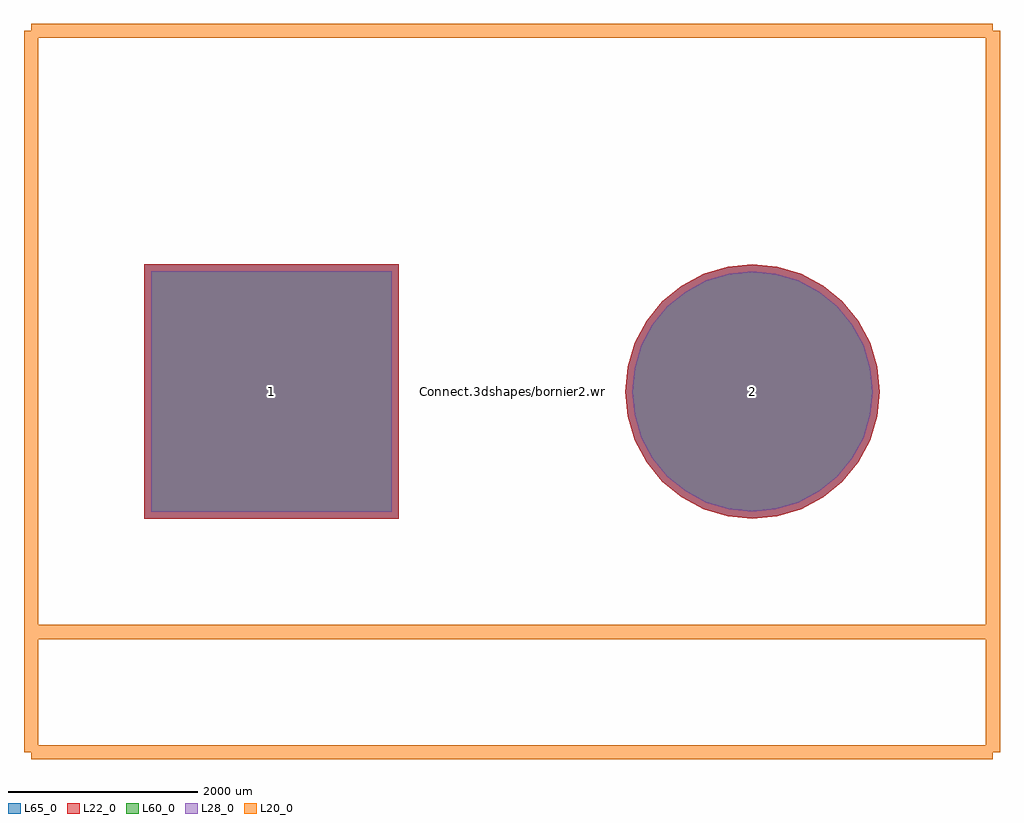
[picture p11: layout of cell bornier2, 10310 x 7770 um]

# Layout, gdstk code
import gdstk
lib = gdstk.Library(unit=1e-6, precision=1e-09)
def R(c, l, rs):  # rectangles x0, y0, x1, y1
    for r in rs: c.add(gdstk.rectangle(r[:2], r[2:], *l))
def P(c, l, *ps):  # polygons
    for p in ps: c.add(gdstk.Polygon(p, *l))
L20_0 = (20, 0)
L22_0 = (22, 0)
L28_0 = (28, 0)
L60_0 = (60, 0)
L65_0 = (65, 0)

bornier2 = lib.new_cell('bornier2')
R(bornier2, L22_0, [(-3885,-1345,-1195,1345)])
P(bornier2, L22_0, [(3885,0),(3859.156,262.396),(3782.618,514.709),(3658.327,747.242),(3491.059,951.059),(3287.242,1118.327),(3054.709,1242.618),(2802.396,1319.156),(2540,1345),(2277.604,1319.156),(2025.291,1242.618),(1792.758,1118.327),(1588.941,951.059),(1421.673,747.242),(1297.382,514.709),(1220.844,262.396),(1195,0),(1220.844,-262.396),(1297.382,-514.709),(1421.673,-747.242),(1588.941,-951.059),(1792.758,-1118.327),(2025.291,-1242.618),(2277.604,-1319.156),(2540,-1345),(2802.396,-1319.156),(3054.709,-1242.618),(3287.242,-1118.327),(3491.059,-951.059),(3658.327,-747.242),(3782.618,-514.709),(3859.156,-262.396)])
R(bornier2, L28_0, [(-3810,-1270,-1270,1270)])
P(bornier2, L28_0, [(3810,0),(3785.597,247.765),(3713.327,486.008),(3595.966,705.574),(3438.026,898.026),(3245.574,1055.966),(3026.008,1173.327),(2787.765,1245.597),(2540,1270),(2292.235,1245.597),(2053.992,1173.327),(1834.426,1055.966),(1641.974,898.026),(1484.034,705.574),(1366.673,486.008),(1294.403,247.765),(1270,0),(1294.403,-247.765),(1366.673,-486.008),(1484.034,-705.574),(1641.974,-898.026),(1834.426,-1055.966),(2053.992,-1173.327),(2292.235,-1245.597),(2540,-1270),(2787.765,-1245.597),(3026.008,-1173.327),(3245.574,-1055.966),(3438.026,-898.026),(3595.966,-705.574),(3713.327,-486.008),(3785.597,-247.765)])
R(bornier2, L60_0, [(-3810,-1270,-1270,1270)])
P(bornier2, L60_0, [(3810,0),(3785.597,247.765),(3713.327,486.008),(3595.966,705.574),(3438.026,898.026),(3245.574,1055.966),(3026.008,1173.327),(2787.765,1245.597),(2540,1270),(2292.235,1245.597),(2053.992,1173.327),(1834.426,1055.966),(1641.974,898.026),(1484.034,705.574),(1366.673,486.008),(1294.403,247.765),(1270,0),(1294.403,-247.765),(1366.673,-486.008),(1484.034,-705.574),(1641.974,-898.026),(1834.426,-1055.966),(2053.992,-1173.327),(2292.235,-1245.597),(2540,-1270),(2787.765,-1245.597),(3026.008,-1173.327),(3245.574,-1055.966),(3438.026,-898.026),(3595.966,-705.574),(3713.327,-486.008),(3785.597,-247.765)])
R(bornier2, L65_0, [(-3885,-1345,-1195,1345)])
P(bornier2, L65_0, [(3885,0),(3859.156,262.396),(3782.618,514.709),(3658.327,747.242),(3491.059,951.059),(3287.242,1118.327),(3054.709,1242.618),(2802.396,1319.156),(2540,1345),(2277.604,1319.156),(2025.291,1242.618),(1792.758,1118.327),(1588.941,951.059),(1421.673,747.242),(1297.382,514.709),(1220.844,262.396),(1195,0),(1220.844,-262.396),(1297.382,-514.709),(1421.673,-747.242),(1588.941,-951.059),(1792.758,-1118.327),(2025.291,-1242.618),(2277.604,-1319.156),(2540,-1345),(2802.396,-1319.156),(3054.709,-1242.618),(3287.242,-1118.327),(3491.059,-951.059),(3658.327,-747.242),(3782.618,-514.709),(3859.156,-262.396)])
bornier2.add(gdstk.FlexPath([(-5080,-3810),(5080,-3810)], 149.998, ends="flush", simple_path=True, layer=20, datatype=0))  # L20_0
bornier2.add(gdstk.FlexPath([(-5080,3810),(-5080,-3810)], 149.998, ends="flush", simple_path=True, layer=20, datatype=0))  # L20_0
bornier2.add(gdstk.FlexPath([(5080,3810),(-5080,3810)], 149.998, ends="flush", simple_path=True, layer=20, datatype=0))  # L20_0
bornier2.add(gdstk.FlexPath([(5080,-3810),(5080,3810)], 149.998, ends="flush", simple_path=True, layer=20, datatype=0))  # L20_0
bornier2.add(gdstk.FlexPath([(5080,-2540),(-5080,-2540)], 149.998, ends="flush", simple_path=True, layer=20, datatype=0))  # L20_0
bornier2.add(gdstk.Label('Connect.3dshapes/bornier2.wrl', (0,0), layer=12, texttype=0))
bornier2.add(gdstk.Label('2', (2540,0), layer=28, texttype=0))
bornier2.add(gdstk.Label('1', (-2540,0), layer=28, texttype=0))
bornier2.add(gdstk.Label('type', (0,-5080), layer=9, texttype=0))
bornier2.add(gdstk.Label('devicename', (0,5080), layer=9, texttype=0))

lib.write_gds('bornier2.gds')
